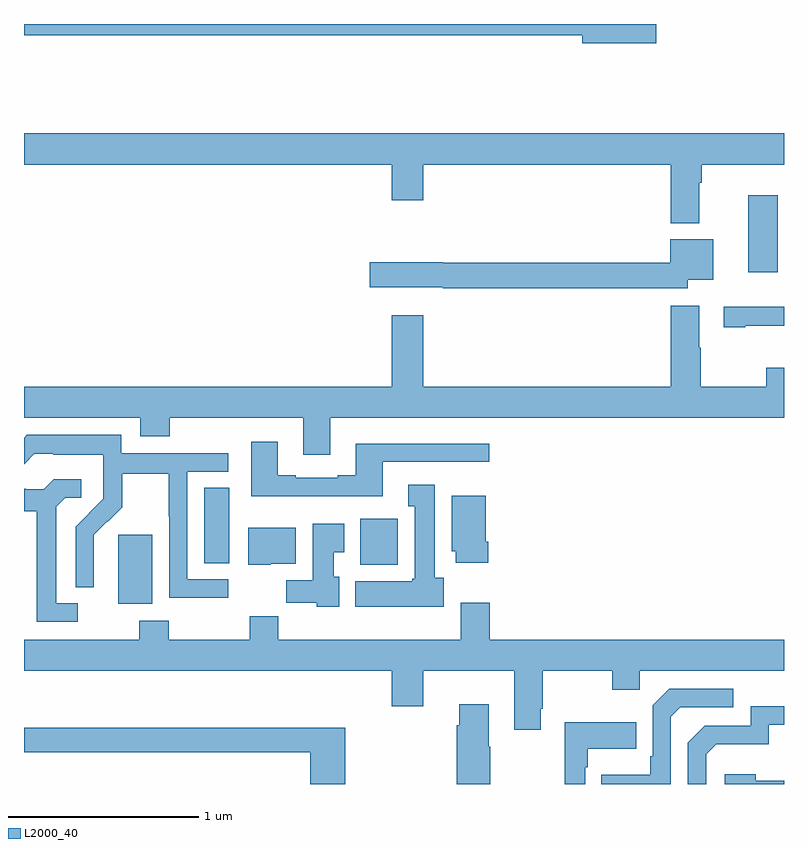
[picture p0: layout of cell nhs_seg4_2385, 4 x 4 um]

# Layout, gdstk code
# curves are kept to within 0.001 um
import gdstk
lib = gdstk.Library(unit=1e-6, precision=1e-09)
def R(c, l, rs):  # rectangles x0, y0, x1, y1
    for r in rs: c.add(gdstk.rectangle(r[:2], r[2:], *l))
def P(c, l, *ps):  # polygons
    for p in ps: c.add(gdstk.Polygon(p, *l))
L2000_40 = (2000, 40)

nhs_seg4_2385 = lib.new_cell('nhs_seg4_2385')
R(nhs_seg4_2385, L2000_40, [(235.496,787.85,235.675,788.211), (236.771,788.054,236.968,788.296), (235.949,788.062,236.08,788.459), (238.811,789.594,238.966,790)])
P(nhs_seg4_2385, L2000_40, [(238.327,790.9),(235,790.9),(235,790.84),(237.938,790.84),(237.938,790.798),(238.327,790.798)],
  [(238.555,790.064),(238.568,790.064),(238.568,790.16),(239,790.16),(239,790.324),(235,790.324),(235,790.16),(236.936,790.16),(236.936,789.972),(237.1,789.972),(237.1,790.16),(238.403,790.16),(238.403,789.851),(238.555,789.851)],
  [(238.494,789.554),(238.627,789.554),(238.627,789.766),(238.4,789.766),(238.4,789.644),(237.204,789.644),(237.204,789.645),(236.82,789.645),(236.82,789.515),(237.204,789.515),(237.204,789.508),(238.494,789.508)],
  [(239,789.091),(238.906,789.091),(238.906,788.992),(238.563,788.992),(238.563,789.197),(238.555,789.197),(238.555,789.418),(238.403,789.418),(238.403,788.992),(237.1,788.992),(237.1,789.367),(236.936,789.367),(236.936,788.992),(235,788.992),(235,788.828),(235.613,788.828),(235.613,788.729),(235.766,788.729),(235.766,788.828),(236.471,788.828),(236.471,788.634),(236.611,788.634),(236.611,788.828),(239,788.828)],
  [(238.795,789.313),(239,789.313),(239,789.411),(238.958,789.411),(238.958,789.413),(238.683,789.413),(238.683,789.303),(238.795,789.303)],
  [(236.074,787.977),(235.86,787.977),(235.86,788.544),(236.074,788.544),(236.074,788.64),(235.512,788.64),(235.512,788.737),(235.015,788.737),(235,788.722),(235,788.584),(235.053,788.637),(235.153,788.637),(235.153,788.633),(235.416,788.633),(235.416,788.499),(235.418,788.499),(235.418,788.402),(235.272,788.254),(235.272,787.936),(235.368,787.936),(235.367,788.213),(235.437,788.283),(235.44,788.28),(235.517,788.357),(235.517,788.532),(235.762,788.532),(235.762,788.308),(235.764,788.308),(235.764,787.879),(236.074,787.879)],
  [(236.887,788.595),(237.448,788.595),(237.448,788.692),(236.747,788.692),(236.747,788.524),(236.651,788.524),(236.651,788.511),(236.431,788.511),(236.431,788.524),(236.335,788.524),(236.335,788.701),(236.195,788.701),(236.195,788.414),(236.887,788.414)],
  [(235.282,787.851),(235.171,787.851),(235.171,788.359),(235.218,788.406),(235.3,788.406),(235.3,788.503),(235.156,788.503),(235.104,788.451),(235.01,788.451),(235.01,788.454),(235,788.454),(235,788.336),(235.067,788.336),(235.067,787.755),(235.282,787.755)],
  [(237.208,787.986),(237.163,787.986),(237.163,788.476),(237.023,788.476),(237.023,788.363),(237.056,788.363),(237.056,787.98),(237.043,787.98),(237.043,787.966),(236.744,787.966),(236.744,787.832),(237.208,787.832)],
  [(237.443,788.176),(237.43,788.176),(237.43,788.416),(237.251,788.416),(237.251,788.124),(237.272,788.124),(237.272,788.064),(237.443,788.064)],
  [(236.659,787.99),(236.629,787.99),(236.629,788.12),(236.686,788.12),(236.686,788.269),(236.519,788.269),(236.519,787.972),(236.38,787.972),(236.38,787.854),(236.541,787.854),(236.541,787.832),(236.659,787.832)],
  [(236.298,788.06),(236.431,788.06),(236.431,788.248),(236.18,788.248),(236.18,788.054),(236.298,788.054)],
  [(237.721,787.297),(237.729,787.297),(237.729,787.496),(238.096,787.496),(238.096,787.397),(238.242,787.397),(238.242,787.496),(239,787.496),(239,787.66),(237.452,787.66),(237.452,787.855),(237.299,787.855),(237.299,787.66),(236.339,787.66),(236.339,787.784),(236.188,787.784),(236.188,787.66),(235.761,787.66),(235.761,787.759),(235.606,787.759),(235.606,787.66),(235,787.66),(235,787.496),(236.936,787.496),(236.936,787.308),(237.1,787.308),(237.1,787.496),(237.581,787.496),(237.581,787.185),(237.721,787.185)],
  [(238.404,787.254),(238.455,787.305),(238.732,787.305),(238.732,787.401),(238.395,787.401),(238.308,787.314),(238.308,787.045),(238.296,787.045),(238.296,786.949),(238.039,786.949),(238.039,786.9),(238.404,786.9)],
  [(237.453,787.097),(237.445,787.097),(237.445,787.321),(237.29,787.321),(237.29,787.208),(237.278,787.208),(237.278,786.9),(237.453,786.9)],
  [(238.59,787.056),(238.643,787.109),(238.92,787.109),(238.92,787.212),(239,787.212),(239,787.308),(238.824,787.308),(238.824,787.206),(238.584,787.206),(238.494,787.116),(238.494,786.9),(238.59,786.9)],
  [(237.954,786.989),(237.967,786.989),(237.967,787.085),(238.223,787.085),(238.223,787.225),(237.846,787.225),(237.846,786.9),(237.954,786.9)],
  [(236.69,787.195),(235,787.195),(235,787.066),(236.507,787.066),(236.507,786.9),(236.69,786.9)],
  [(239,786.918),(238.85,786.918),(238.85,786.952),(238.689,786.952),(238.689,786.9),(239,786.9)])

lib.write_gds('nhs_seg4_2385.gds')
